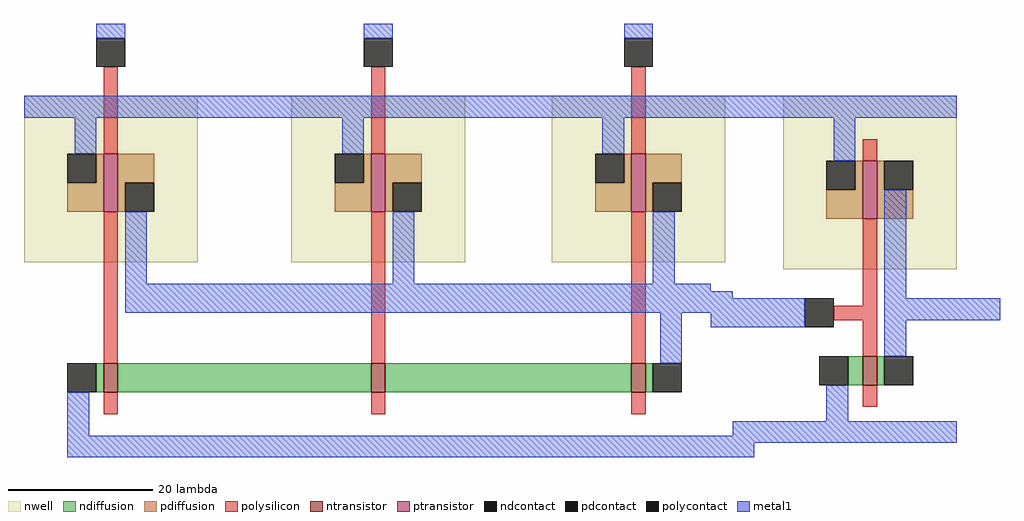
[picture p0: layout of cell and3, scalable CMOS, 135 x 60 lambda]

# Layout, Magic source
magic
tech scmos
<< nwell >>
rect -32 -8 -8 15
rect 5 -8 29 15
rect 41 -8 65 15
<< ntransistor >>
rect -21 -26 -19 -22
rect 16 -26 18 -22
rect 52 -26 54 -22
<< ptransistor >>
rect -21 -1 -19 7
rect 16 -1 18 7
rect 52 -1 54 7
<< ndiffusion >>
rect -22 -26 -21 -22
rect -19 -26 16 -22
rect 18 -26 52 -22
rect 54 -26 55 -22
<< pdiffusion >>
rect -22 3 -21 7
rect -26 -1 -21 3
rect -19 3 -14 7
rect -19 -1 -18 3
rect 15 3 16 7
rect 11 -1 16 3
rect 18 3 23 7
rect 18 -1 19 3
rect 51 3 52 7
rect 47 -1 52 3
rect 54 3 59 7
rect 54 -1 55 3
<< ndcontact >>
rect -26 -26 -22 -22
rect 55 -26 59 -22
<< pdcontact >>
rect -26 3 -22 7
rect -18 -1 -14 3
rect 11 3 15 7
rect 19 -1 23 3
rect 47 3 51 7
rect 55 -1 59 3
<< polysilicon >>
rect -21 7 -19 19
rect 16 7 18 19
rect 52 7 54 19
rect -21 -22 -19 -1
rect 16 -22 18 -1
rect 52 -22 54 -1
rect -21 -29 -19 -26
rect 16 -29 18 -26
rect 52 -29 54 -26
<< polycontact >>
rect -22 19 -18 23
rect 15 19 19 23
rect 51 19 55 23
<< metal1 >>
rect -22 23 -18 25
rect 15 23 19 25
rect 51 23 55 25
rect -32 12 73 15
rect -25 7 -22 12
rect 12 7 15 12
rect 48 7 51 12
rect -18 -11 -15 -1
rect 19 -11 22 -1
rect 55 -11 58 -1
rect -18 -12 63 -11
rect -18 -13 66 -12
rect -18 -15 73 -13
rect 56 -22 59 -15
rect 63 -17 73 -15
rect 97 -16 103 -13
rect -26 -32 -23 -26
rect 66 -32 74 -30
rect -26 -33 74 -32
rect -26 -35 69 -33
use not  not_0
transform 1 0 85 0 1 0
box -12 -33 12 15
<< end >>

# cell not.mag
magic
tech scmos
<< nwell >>
rect -12 -9 12 15
<< ntransistor >>
rect -1 -25 1 -21
<< ptransistor >>
rect -1 -2 1 6
<< ndiffusion >>
rect -3 -25 -1 -21
rect 1 -25 2 -21
<< pdiffusion >>
rect -2 2 -1 6
rect -6 -2 -1 2
rect 1 2 2 6
rect 1 -2 6 2
<< ndcontact >>
rect -7 -25 -3 -21
rect 2 -25 6 -21
<< pdcontact >>
rect -6 2 -2 6
rect 2 2 6 6
<< polysilicon >>
rect -1 6 1 9
rect -1 -14 1 -2
rect -5 -16 1 -14
rect -1 -21 1 -16
rect -1 -28 1 -25
<< polycontact >>
rect -9 -17 -5 -13
<< metal1 >>
rect -12 12 12 15
rect -5 6 -2 12
rect 2 -13 5 2
rect -12 -17 -9 -13
rect 2 -16 12 -13
rect 2 -21 5 -16
rect -6 -30 -3 -25
rect -12 -33 12 -30
<< end >>
